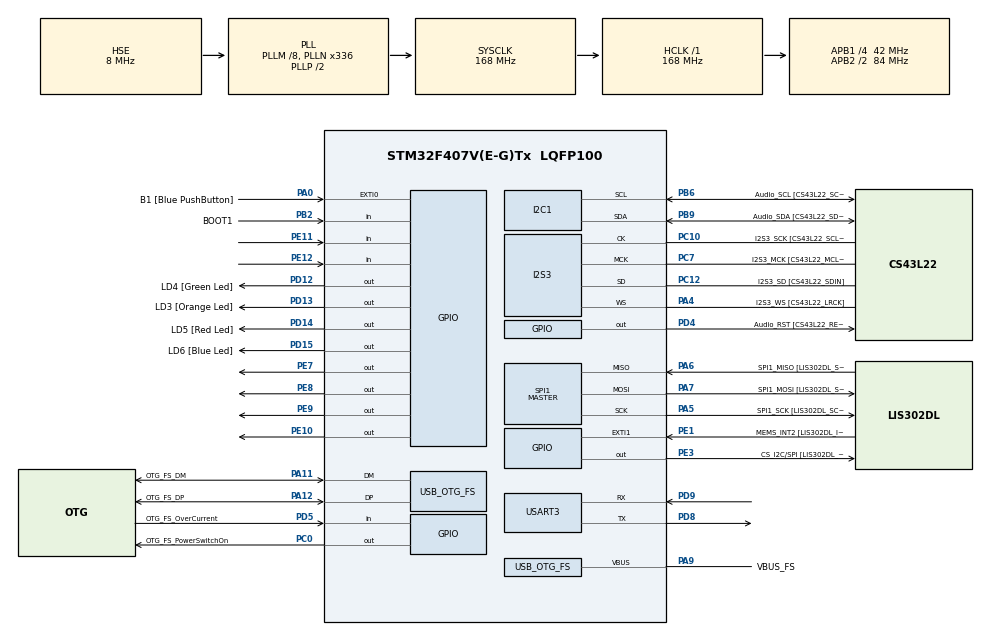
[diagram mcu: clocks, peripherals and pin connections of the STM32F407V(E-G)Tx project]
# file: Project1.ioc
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I2S3.AudioFreq-Half_Duplex_Master=I2S_AUDIOFREQ_96K
I2S3.ErrorAudioFreq=-2.34 %
I2S3.ErrorAudioFreq-Half_Duplex_Master=0.8 %
I2S3.FullDuplexMode=I2S_FULLDUPLEXMODE_DISABLE
I2S3.Instance=SPI$Index
I2S3.RealAudioFreq=93.75 KHz
I2S3.RealAudioFreq-Half_Duplex_Master=96.774 KHz
I2S3.VirtualMode=I2S_MODE_MASTER
Mcu.Family=STM32F4
Mcu.Name=STM32F407V(E-G)Tx
Mcu.Package=LQFP100
NVIC.OTG_FS_IRQn=true\:0\:0\:false\:false\:true\:true\:true\:true
NVIC.PriorityGroup=NVIC_PRIORITYGROUP_2
NVIC.TIM2_IRQn=true\:1\:0\:true\:false\:true\:true\:true\:true
PA0-WKUP.GPIO_Label=B1 [Blue PushButton]
PA0-WKUP.GPIO_ModeDefaultEXTI=GPIO_MODE_EVT_RISING
PA0-WKUP.GPIO_PuPd=GPIO_NOPULL
PA0-WKUP.Signal=GPXTI0
PA10.GPIO_Label=OTG_FS_ID
PA10.GPIO_Mode=GPIO_MODE_AF_PP
PA10.GPIO_PuPd=GPIO_NOPULL
PA10.GPIO_Speed=GPIO_SPEED_FREQ_LOW
PA10.Signal=USB_OTG_FS_ID
PA11.GPIO_Label=OTG_FS_DM
PA11.GPIO_Mode=GPIO_MODE_AF_PP
PA11.GPIO_PuPd=GPIO_NOPULL
PA11.GPIO_Speed=GPIO_SPEED_FREQ_LOW
PA11.Mode=Host_Only
PA11.Signal=USB_OTG_FS_DM
PA12.GPIO_Label=OTG_FS_DP
PA12.GPIO_Mode=GPIO_MODE_AF_PP
PA12.GPIO_PuPd=GPIO_NOPULL
PA12.GPIO_Speed=GPIO_SPEED_FREQ_LOW
PA12.Mode=Host_Only
PA12.Signal=USB_OTG_FS_DP
PA13.GPIO_Label=SWDIO
PA13.Mode=Serial_Wire
PA13.Signal=SYS_JTMS-SWDIO
PA14.GPIO_Label=SWCLK
PA14.Mode=Serial_Wire
PA14.Signal=SYS_JTCK-SWCLK
PA4.GPIO_Label=I2S3_WS [CS43L22_LRCK]
PA4.GPIO_Mode=GPIO_MODE_AF_PP
PA4.GPIO_PuPd=GPIO_NOPULL
PA4.GPIO_Speed=GPIO_SPEED_FREQ_LOW
PA4.Mode=Half_Duplex_Master
PA4.Signal=I2S3_WS
PA5.GPIO_Label=SPI1_SCK [LIS302DL_SCL/SPC]
PA5.GPIO_Mode=GPIO_MODE_AF_PP
PA5.GPIO_PuPd=GPIO_NOPULL
PA5.GPIO_Speed=GPIO_SPEED_FREQ_LOW
PA5.Mode=Full_Duplex_Master
PA5.Signal=SPI1_SCK
PA6.GPIO_Label=SPI1_MISO [LIS302DL_SDO]
PA6.GPIO_Mode=GPIO_MODE_AF_PP
PA6.GPIO_PuPd=GPIO_NOPULL
PA6.GPIO_Speed=GPIO_SPEED_FREQ_LOW
PA6.Mode=Full_Duplex_Master
PA6.Signal=SPI1_MISO
PA7.GPIO_Label=SPI1_MOSI [LIS302DL_SDA/SDI/SDO]
PA7.GPIO_Mode=GPIO_MODE_AF_PP
PA7.GPIO_PuPd=GPIO_NOPULL
PA7.GPIO_Speed=GPIO_SPEED_FREQ_LOW
PA7.Mode=Full_Duplex_Master
PA7.Signal=SPI1_MOSI
PA9.GPIO_Label=VBUS_FS
PA9.GPIO_Mode=GPIO_MODE_INPUT
PA9.GPIO_PuPd=GPIO_NOPULL
PA9.Mode=Activate_VBUS
PA9.Signal=USB_OTG_FS_VBUS
PB10.GPIO_Label=CLK_IN [MP45DT02_CLK]
PB10.GPIO_Mode=GPIO_MODE_AF_PP
PB10.GPIO_PuPd=GPIO_NOPULL
PB10.GPIO_Speed=GPIO_SPEED_FREQ_LOW
PB10.Signal=I2S2_CK
PB2.GPIO_Label=BOOT1
PB2.GPIO_Mode=GPIO_MODE_INPUT
PB2.GPIO_PuPd=GPIO_NOPULL
PB2.Signal=GPIO_Input
PB3.GPIO_Label=SWO
PB3.Signal=SYS_JTDO-SWO
PB6.GPIO_Label=Audio_SCL [CS43L22_SCL]
PB6.GPIO_Mode=GPIO_MODE_AF_OD
PB6.GPIO_Pu=GPIO_PULLUP
PB6.GPIO_PuPd=GPIO_NOPULL
PB6.GPIO_Speed=GPIO_SPEED_FREQ_LOW
PB6.Mode=I2C
PB6.Signal=I2C1_SCL
PB9.GPIO_Label=Audio_SDA [CS43L22_SDA]
PB9.GPIO_Mode=GPIO_MODE_AF_OD
PB9.GPIO_Pu=GPIO_PULLUP
PB9.GPIO_PuPd=GPIO_NOPULL
PB9.GPIO_Speed=GPIO_SPEED_FREQ_LOW
PB9.Mode=I2C
PB9.Signal=I2C1_SDA
PC0.GPIO_Label=OTG_FS_PowerSwitchOn
PC0.GPIO_PuPd=GPIO_NOPULL
PC0.GPIO_Speed=GPIO_SPEED_FREQ_LOW
PC0.PinState=GPIO_PIN_SET
PC0.Signal=GPIO_Output
PC10.GPIO_Label=I2S3_SCK [CS43L22_SCLK]
PC10.GPIO_Mode=GPIO_MODE_AF_PP
PC10.GPIO_PuPd=GPIO_NOPULL
PC10.GPIO_Speed=GPIO_SPEED_FREQ_LOW
PC10.Mode=Half_Duplex_Master
PC10.Signal=I2S3_CK
PC12.GPIO_Label=I2S3_SD [CS43L22_SDIN]
PC12.GPIO_Mode=GPIO_MODE_AF_PP
PC12.GPIO_PuPd=GPIO_NOPULL
PC12.GPIO_Speed=GPIO_SPEED_FREQ_LOW
PC12.Mode=Half_Duplex_Master
PC12.Signal=I2S3_SD
PC14-OSC32_IN.GPIO_Label=PC14-OSC32_IN
PC14-OSC32_IN.Mode=LSE-External-Oscillator
PC14-OSC32_IN.Signal=RCC_OSC32_IN
PC15-OSC32_OUT.GPIO_Label=PC15-OSC32_OUT
PC15-OSC32_OUT.Mode=LSE-External-Oscillator
PC15-OSC32_OUT.Signal=RCC_OSC32_OUT
PC3.GPIO_Label=PDM_OUT [MP45DT02_DOUT]
PC3.GPIO_Mode=GPIO_MODE_AF_PP
PC3.GPIO_PuPd=GPIO_NOPULL
PC3.GPIO_Speed=GPIO_SPEED_FREQ_LOW
PC3.Signal=I2S2_SD
PC7.GPIO_Label=I2S3_MCK [CS43L22_MCLK]
PC7.GPIO_Mode=GPIO_MODE_AF_PP
PC7.GPIO_PuPd=GPIO_NOPULL
PC7.GPIO_Speed=GPIO_SPEED_FREQ_LOW
PC7.Mode=Master_Clock_Activated
PC7.Signal=I2S3_MCK
PD12.GPIO_Label=LD4 [Green Led]
PD12.GPIO_PuPd=GPIO_NOPULL
PD12.GPIO_Speed=GPIO_SPEED_FREQ_LOW
PD12.Signal=GPIO_Output
PD13.GPIO_Label=LD3 [Orange Led]
PD13.GPIO_PuPd=GPIO_NOPULL
PD13.GPIO_Speed=GPIO_SPEED_FREQ_LOW
PD13.Signal=GPIO_Output
PD14.GPIO_Label=LD5 [Red Led]
PD14.GPIO_PuPd=GPIO_NOPULL
PD14.GPIO_Speed=GPIO_SPEED_FREQ_LOW
PD14.Signal=GPIO_Output
PD15.GPIO_Label=LD6 [Blue Led]
PD15.GPIO_PuPd=GPIO_NOPULL
PD15.GPIO_Speed=GPIO_SPEED_FREQ_LOW
PD15.Signal=GPIO_Output
PD4.GPIO_Label=Audio_RST [CS43L22_RESET]
PD4.GPIO_PuPd=GPIO_NOPULL
PD4.GPIO_Speed=GPIO_SPEED_FREQ_LOW
PD4.Signal=GPIO_Output
PD5.GPIO_Label=OTG_FS_OverCurrent
PD5.GPIO_Mode=GPIO_MODE_INPUT
PD5.GPIO_PuPd=GPIO_NOPULL
PD5.Signal=GPIO_Input
PD8.Mode=Asynchronous
PD8.Signal=USART3_TX
PD9.Mode=Asynchronous
PD9.Signal=USART3_RX
PE1.GPIO_Label=MEMS_INT2 [LIS302DL_INT2]
PE1.GPIO_ModeDefaultEXTI=GPIO_MODE_EVT_RISING
PE1.GPIO_PuPd=GPIO_NOPULL
PE1.Signal=GPXTI1
PE10.Signal=GPIO_Output
PE11.Signal=GPIO_Input
PE12.Signal=GPIO_Input
PE3.GPIO_Label=CS_I2C/SPI [LIS302DL_CS_I2C/SPI]
PE3.GPIO_PuPd=GPIO_NOPULL
PE3.GPIO_Speed=GPIO_SPEED_FREQ_LOW
PE3.Signal=GPIO_Output
PE7.Signal=GPIO_Output
PE8.Signal=GPIO_Output
PE9.Signal=GPIO_Output
PH0-OSC_IN.GPIO_Label=PH0-OSC_IN
PH0-OSC_IN.Mode=HSE-External-Oscillator
PH0-OSC_IN.Signal=RCC_OSC_IN
PH1-OSC_OUT.GPIO_Label=PH1-OSC_OUT
PH1-OSC_OUT.Mode=HSE-External-Oscillator
PH1-OSC_OUT.Signal=RCC_OSC_OUT
ProjectManager.HeapSize=0x200
ProjectManager.StackSize=0x400
ProjectManager.TargetToolchain=STM32CubeIDE
RCC.48MHZClocksFreq_Value=48000000
RCC.AHBFreq_Value=168000000
RCC.APB1CLKDivider=RCC_HCLK_DIV4
RCC.APB1Freq_Value=42000000
RCC.APB1TimFreq_Value=84000000
RCC.APB2CLKDivider=RCC_HCLK_DIV2
RCC.APB2Freq_Value=84000000
RCC.APB2TimFreq_Value=168000000
RCC.CortexFreq_Value=168000000
RCC.HCLKFreq_Value=168000000
RCC.HSE_VALUE=8000000
RCC.HSI_VALUE=16000000
RCC.PLLM=8
RCC.PLLN=336
RCC.PLLQ=7
RCC.SYSCLKFreq_VALUE=168000000
RCC.SYSCLKSource=RCC_SYSCLKSOURCE_PLLCLK
RCC.VCOOutputFreq_Value=336000000
SPI1.BaudRatePrescaler-Full_Duplex_Master=SPI_BAUDRATEPRESCALER_2
SPI1.CalculateBaudRate-Full_Duplex_Master=42.0 MBits/s
SPI1.Direction=SPI_DIRECTION_2LINES
SPI1.Mode=SPI_MODE_MASTER
SPI1.Mode-Full_Duplex_Master=SPI_MODE_MASTER
SPI1.VirtualType=VM_MASTER
TIM2.AutoReloadPreload=TIM_AUTORELOAD_PRELOAD_DISABLE
TIM2.Period=10-1
TIM2.Prescaler=168-1
USART3.VirtualMode=VM_ASYNC
USB_HOST.BSP.number=1
USB_HOST.USBH_HandleTypeDef-CDC_FS=hUsbHostFS
USB_HOST.VirtualModeFS=Cdc
USB_HOST0.BSP.STBoard=false
USB_HOST0.BSP.api=Unknown
USB_HOST0.BSP.instance=PC0
USB_HOST0.BSP.ip=GPIO
USB_HOST0.BSP.mode=Output
USB_HOST0.BSP.name=Drive_VBUS_FS
USB_HOST0.BSP.solution=PC0
USB_OTG_FS.VirtualMode=Host_Only
USB_OTG_FS.phy_itface=HCD_PHY_EMBEDDED
VP_TIM2_VS_ClockSourceINT.Mode=Internal
VP_USB_HOST_VS_USB_HOST_CDC_FS.Mode=CDC_FS
board=STM32F407G-DISC1

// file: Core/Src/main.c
/* USER CODE BEGIN Header */
/**
 ******************************************************************************
 * @file           : main.c
 * @brief          : Main program body
 ******************************************************************************
 * @attention
 *
 * Copyright (c) 2023 STMicroelectronics.
 * All rights reserved.
 *
 * This software is licensed under terms that can be found in the LICENSE file
 * in the root directory of this software component.
 * If no LICENSE file comes with this software, it is provided AS-IS.
 *
 ******************************************************************************
 */
/* USER CODE END Header */
#include "main.h"
#include "usb_host.h"

I2C_HandleTypeDef hi2c1;

I2S_HandleTypeDef hi2s3;

SPI_HandleTypeDef hspi1;

TIM_HandleTypeDef htim2;

UART_HandleTypeDef huart3;

void SystemClock_Config(void);
static void MX_GPIO_Init(void);
static void MX_I2C1_Init(void);
static void MX_I2S3_Init(void);
static void MX_SPI1_Init(void);
static void MX_USART3_UART_Init(void);
static void MX_TIM2_Init(void);
void MX_USB_HOST_Process(void);

/* USER CODE BEGIN 0 */
int motorSpeed = 65; //70 - 500
uint32_t lastTime = 0;
int stepTo = 0;
int nowStep = 0;
uint32_t count;
/* USER CODE END 0 */

int main(void)
{

  /* MCU Configuration--------------------------------------------------------*/

  /* Reset of all peripherals, Initializes the Flash interface and the Systick. */
  HAL_Init();

  /* Configure the system clock */
  SystemClock_Config();

  /* Initialize all configured peripherals */
  MX_GPIO_Init();
  MX_I2C1_Init();
  MX_I2S3_Init();
  MX_SPI1_Init();
  MX_USB_HOST_Init();
  MX_USART3_UART_Init();
  MX_TIM2_Init();
  /* USER CODE BEGIN 2 */
	int sw1, sw2;
	HAL_TIM_Base_Start_IT(&htim2);
  /* USER CODE END 2 */

  /* Infinite loop */
  /* USER CODE BEGIN WHILE */
	while (1) {
		sw1 = HAL_GPIO_ReadPin(GPIOE, GPIO_PIN_11);
		sw2 = HAL_GPIO_ReadPin(GPIOE, GPIO_PIN_12);
		if (sw1 == 0) {
			stepTo = 5;
			HAL_GPIO_WritePin(GPIOD, GPIO_PIN_12, 1);
		} else if (sw2 == 0) {
			stepTo = -5;
			HAL_GPIO_WritePin(GPIOD, GPIO_PIN_13, 1);
		} else {
			HAL_GPIO_WritePin(GPIOD, GPIO_PIN_12, 0);
			HAL_GPIO_WritePin(GPIOD, GPIO_PIN_13, 0);
		}
		motor();
    /* USER CODE END WHILE */
    MX_USB_HOST_Process();

	}
}

void SystemClock_Config(void)
{
  RCC_OscInitTypeDef RCC_OscInitStruct = {0};
  RCC_ClkInitTypeDef RCC_ClkInitStruct = {0};

  /** Configure the main internal regulator output voltage
  */
  __HAL_RCC_PWR_CLK_ENABLE();
  __HAL_PWR_VOLTAGESCALING_CONFIG(PWR_REGULATOR_VOLTAGE_SCALE1);

  /** Initializes the RCC Oscillators according to the specified parameters
  * in the RCC_OscInitTypeDef structure.
  */
  RCC_OscInitStruct.OscillatorType = RCC_OSCILLATORTYPE_HSE;
  RCC_OscInitStruct.HSEState = RCC_HSE_ON;
  RCC_OscInitStruct.PLL.PLLState = RCC_PLL_ON;
  RCC_OscInitStruct.PLL.PLLSource = RCC_PLLSOURCE_HSE;
  RCC_OscInitStruct.PLL.PLLM = 8;
  RCC_OscInitStruct.PLL.PLLN = 336;
  RCC_OscInitStruct.PLL.PLLP = RCC_PLLP_DIV2;
  RCC_OscInitStruct.PLL.PLLQ = 7;
  if (HAL_RCC_OscConfig(&RCC_OscInitStruct) != HAL_OK)
  {
    Error_Handler();
  }

  /** Initializes the CPU, AHB and APB buses clocks
  */
  RCC_ClkInitStruct.ClockType = RCC_CLOCKTYPE_HCLK|RCC_CLOCKTYPE_SYSCLK
                              |RCC_CLOCKTYPE_PCLK1|RCC_CLOCKTYPE_PCLK2;
  RCC_ClkInitStruct.SYSCLKSource = RCC_SYSCLKSOURCE_PLLCLK;
  RCC_ClkInitStruct.AHBCLKDivider = RCC_SYSCLK_DIV1;
  RCC_ClkInitStruct.APB1CLKDivider = RCC_HCLK_DIV4;
  RCC_ClkInitStruct.APB2CLKDivider = RCC_HCLK_DIV2;

  if (HAL_RCC_ClockConfig(&RCC_ClkInitStruct, FLASH_LATENCY_5) != HAL_OK)
  {
    Error_Handler();
  }
}

static void MX_I2C1_Init(void)
{

  hi2c1.Instance = I2C1;
  hi2c1.Init.ClockSpeed = 100000;
  hi2c1.Init.DutyCycle = I2C_DUTYCYCLE_2;
  hi2c1.Init.OwnAddress1 = 0;
  hi2c1.Init.AddressingMode = I2C_ADDRESSINGMODE_7BIT;
  hi2c1.Init.DualAddressMode = I2C_DUALADDRESS_DISABLE;
  hi2c1.Init.OwnAddress2 = 0;
  hi2c1.Init.GeneralCallMode = I2C_GENERALCALL_DISABLE;
  hi2c1.Init.NoStretchMode = I2C_NOSTRETCH_DISABLE;
  if (HAL_I2C_Init(&hi2c1) != HAL_OK)
  {
    Error_Handler();
  }

}

static void MX_I2S3_Init(void)
{

  hi2s3.Instance = SPI3;
  hi2s3.Init.Mode = I2S_MODE_MASTER_TX;
  hi2s3.Init.Standard = I2S_STANDARD_PHILIPS;
  hi2s3.Init.DataFormat = I2S_DATAFORMAT_16B;
  hi2s3.Init.MCLKOutput = I2S_MCLKOUTPUT_ENABLE;
  hi2s3.Init.AudioFreq = I2S_AUDIOFREQ_96K;
  hi2s3.Init.CPOL = I2S_CPOL_LOW;
  hi2s3.Init.ClockSource = I2S_CLOCK_PLL;
  hi2s3.Init.FullDuplexMode = I2S_FULLDUPLEXMODE_DISABLE;
  if (HAL_I2S_Init(&hi2s3) != HAL_OK)
  {
    Error_Handler();
  }

}

static void MX_SPI1_Init(void)
{

  /* SPI1 parameter configuration*/
  hspi1.Instance = SPI1;
  hspi1.Init.Mode = SPI_MODE_MASTER;
  hspi1.Init.Direction = SPI_DIRECTION_2LINES;
  hspi1.Init.DataSize = SPI_DATASIZE_8BIT;
  hspi1.Init.CLKPolarity = SPI_POLARITY_LOW;
  hspi1.Init.CLKPhase = SPI_PHASE_1EDGE;
  hspi1.Init.NSS = SPI_NSS_SOFT;
  hspi1.Init.BaudRatePrescaler = SPI_BAUDRATEPRESCALER_2;
  hspi1.Init.FirstBit = SPI_FIRSTBIT_MSB;
  hspi1.Init.TIMode = SPI_TIMODE_DISABLE;
  hspi1.Init.CRCCalculation = SPI_CRCCALCULATION_DISABLE;
  hspi1.Init.CRCPolynomial = 10;
  if (HAL_SPI_Init(&hspi1) != HAL_OK)
  {
    Error_Handler();
  }

}

static void MX_TIM2_Init(void)
{

  TIM_ClockConfigTypeDef sClockSourceConfig = {0};
  TIM_MasterConfigTypeDef sMasterConfig = {0};

  htim2.Instance = TIM2;
  htim2.Init.Prescaler = 168-1;
  htim2.Init.CounterMode = TIM_COUNTERMODE_UP;
  htim2.Init.Period = 10-1;
  htim2.Init.ClockDivision = TIM_CLOCKDIVISION_DIV1;
  htim2.Init.AutoReloadPreload = TIM_AUTORELOAD_PRELOAD_DISABLE;
  if (HAL_TIM_Base_Init(&htim2) != HAL_OK)
  {
    Error_Handler();
  }
  sClockSourceConfig.ClockSource = TIM_CLOCKSOURCE_INTERNAL;
  if (HAL_TIM_ConfigClockSource(&htim2, &sClockSourceConfig) != HAL_OK)
  {
    Error_Handler();
  }
  sMasterConfig.MasterOutputTrigger = TIM_TRGO_RESET;
  sMasterConfig.MasterSlaveMode = TIM_MASTERSLAVEMODE_DISABLE;
  if (HAL_TIMEx_MasterConfigSynchronization(&htim2, &sMasterConfig) != HAL_OK)
  {
    Error_Handler();
  }

}

static void MX_USART3_UART_Init(void)
{

  huart3.Instance = USART3;
  huart3.Init.BaudRate = 115200;
  huart3.Init.WordLength = UART_WORDLENGTH_8B;
  huart3.Init.StopBits = UART_STOPBITS_1;
  huart3.Init.Parity = UART_PARITY_NONE;
  huart3.Init.Mode = UART_MODE_TX_RX;
  huart3.Init.HwFlowCtl = UART_HWCONTROL_NONE;
  huart3.Init.OverSampling = UART_OVERSAMPLING_16;
  if (HAL_UART_Init(&huart3) != HAL_OK)
  {
    Error_Handler();
  }

}

static void MX_GPIO_Init(void)
{
  GPIO_InitTypeDef GPIO_InitStruct = {0};

  /* GPIO Ports Clock Enable */
  __HAL_RCC_GPIOE_CLK_ENABLE();
  __HAL_RCC_GPIOC_CLK_ENABLE();
  __HAL_RCC_GPIOH_CLK_ENABLE();
  __HAL_RCC_GPIOA_CLK_ENABLE();
  __HAL_RCC_GPIOB_CLK_ENABLE();
  __HAL_RCC_GPIOD_CLK_ENABLE();

  /*Configure GPIO pin Output Level */
  HAL_GPIO_WritePin(GPIOE, CS_I2C_SPI_Pin|GPIO_PIN_7|GPIO_PIN_8|GPIO_PIN_9
                          |GPIO_PIN_10, GPIO_PIN_RESET);

  /*Configure GPIO pin Output Level */
  HAL_GPIO_WritePin(OTG_FS_PowerSwitchOn_GPIO_Port, OTG_FS_PowerSwitchOn_Pin, GPIO_PIN_SET);

  /*Configure GPIO pin Output Level */
  HAL_GPIO_WritePin(GPIOD, LD4_Pin|LD3_Pin|LD5_Pin|LD6_Pin
                          |Audio_RST_Pin, GPIO_PIN_RESET);

  /*Configure GPIO pins : CS_I2C_SPI_Pin PE7 PE8 PE9
                           PE10 */
  GPIO_InitStruct.Pin = CS_I2C_SPI_Pin|GPIO_PIN_7|GPIO_PIN_8|GPIO_PIN_9
                          |GPIO_PIN_10;
  GPIO_InitStruct.Mode = GPIO_MODE_OUTPUT_PP;
  GPIO_InitStruct.Pull = GPIO_NOPULL;
  GPIO_InitStruct.Speed = GPIO_SPEED_FREQ_LOW;
  HAL_GPIO_Init(GPIOE, &GPIO_InitStruct);

  /*Configure GPIO pin : OTG_FS_PowerSwitchOn_Pin */
  GPIO_InitStruct.Pin = OTG_FS_PowerSwitchOn_Pin;
  GPIO_InitStruct.Mode = GPIO_MODE_OUTPUT_PP;
  GPIO_InitStruct.Pull = GPIO_NOPULL;
  GPIO_InitStruct.Speed = GPIO_SPEED_FREQ_LOW;
  HAL_GPIO_Init(OTG_FS_PowerSwitchOn_GPIO_Port, &GPIO_InitStruct);

  /*Configure GPIO pin : PDM_OUT_Pin */
  GPIO_InitStruct.Pin = PDM_OUT_Pin;
  GPIO_InitStruct.Mode = GPIO_MODE_AF_PP;
  GPIO_InitStruct.Pull = GPIO_NOPULL;
  GPIO_InitStruct.Speed = GPIO_SPEED_FREQ_LOW;
  GPIO_InitStruct.Alternate = GPIO_AF5_SPI2;
  HAL_GPIO_Init(PDM_OUT_GPIO_Port, &GPIO_InitStruct);

  /*Configure GPIO pin : B1_Pin */
  GPIO_InitStruct.Pin = B1_Pin;
  GPIO_InitStruct.Mode = GPIO_MODE_EVT_RISING;
  GPIO_InitStruct.Pull = GPIO_NOPULL;
  HAL_GPIO_Init(B1_GPIO_Port, &GPIO_InitStruct);

  /*Configure GPIO pin : BOOT1_Pin */
  GPIO_InitStruct.Pin = BOOT1_Pin;
  GPIO_InitStruct.Mode = GPIO_MODE_INPUT;
  GPIO_InitStruct.Pull = GPIO_NOPULL;
  HAL_GPIO_Init(BOOT1_GPIO_Port, &GPIO_InitStruct);

  /*Configure GPIO pins : PE11 PE12 */
  GPIO_InitStruct.Pin = GPIO_PIN_11|GPIO_PIN_12;
  GPIO_InitStruct.Mode = GPIO_MODE_INPUT;
  GPIO_InitStruct.Pull = GPIO_NOPULL;
  HAL_GPIO_Init(GPIOE, &GPIO_InitStruct);

  /*Configure GPIO pin : CLK_IN_Pin */
  GPIO_InitStruct.Pin = CLK_IN_Pin;
  GPIO_InitStruct.Mode = GPIO_MODE_AF_PP;
  GPIO_InitStruct.Pull = GPIO_NOPULL;
  GPIO_InitStruct.Speed = GPIO_SPEED_FREQ_LOW;
  GPIO_InitStruct.Alternate = GPIO_AF5_SPI2;
  HAL_GPIO_Init(CLK_IN_GPIO_Port, &GPIO_InitStruct);

  /*Configure GPIO pins : LD4_Pin LD3_Pin LD5_Pin LD6_Pin
                           Audio_RST_Pin */
  GPIO_InitStruct.Pin = LD4_Pin|LD3_Pin|LD5_Pin|LD6_Pin
                          |Audio_RST_Pin;
  GPIO_InitStruct.Mode = GPIO_MODE_OUTPUT_PP;
  GPIO_InitStruct.Pull = GPIO_NOPULL;
  GPIO_InitStruct.Speed = GPIO_SPEED_FREQ_LOW;
  HAL_GPIO_Init(GPIOD, &GPIO_InitStruct);

  /*Configure GPIO pin : OTG_FS_OverCurrent_Pin */
  GPIO_InitStruct.Pin = OTG_FS_OverCurrent_Pin;
  GPIO_InitStruct.Mode = GPIO_MODE_INPUT;
  GPIO_InitStruct.Pull = GPIO_NOPULL;
  HAL_GPIO_Init(OTG_FS_OverCurrent_GPIO_Port, &GPIO_InitStruct);

  /*Configure GPIO pin : MEMS_INT2_Pin */
  GPIO_InitStruct.Pin = MEMS_INT2_Pin;
  GPIO_InitStruct.Mode = GPIO_MODE_EVT_RISING;
  GPIO_InitStruct.Pull = GPIO_NOPULL;
  HAL_GPIO_Init(MEMS_INT2_GPIO_Port, &GPIO_InitStruct);

}

/* USER CODE BEGIN 4 */
void motor() {
	if (count - lastTime > motorSpeed) {
		if (stepTo != 0) {
			switch (nowStep) {
			case 0:
				//GPIOE->BSRR = 0x00000280;
				HAL_GPIO_WritePin(GPIOE, GPIO_PIN_7, 1);
				HAL_GPIO_WritePin(GPIOE, GPIO_PIN_8, 0);
				HAL_GPIO_WritePin(GPIOE, GPIO_PIN_9, 1);
				HAL_GPIO_WritePin(GPIOE, GPIO_PIN_10, 0);
//          digitalWrite(motorPin1, HIGH);
//          digitalWrite(motorPin2, LOW);
//          digitalWrite(motorPin3, HIGH);
//          digitalWrite(motorPin4, LOW);
				//delay(motorSpeed);
				break;
			case 1:
				//GPIOE->BSRR = 0x00000300;
				HAL_GPIO_WritePin(GPIOE, GPIO_PIN_7, 0);
				HAL_GPIO_WritePin(GPIOE, GPIO_PIN_8, 1);
				HAL_GPIO_WritePin(GPIOE, GPIO_PIN_9, 1);
				HAL_GPIO_WritePin(GPIOE, GPIO_PIN_10, 0);
//          digitalWrite(motorPin1, LOW);
//          digitalWrite(motorPin2, HIGH);
//          digitalWrite(motorPin3, HIGH);
//          digitalWrite(motorPin4, LOW);
				//delay (motorSpeed);
				break;
			case 2:
				//GPIOE->BSRR = 0x00000500;
				HAL_GPIO_WritePin(GPIOE, GPIO_PIN_7, 0);
				HAL_GPIO_WritePin(GPIOE, GPIO_PIN_8, 1);
				HAL_GPIO_WritePin(GPIOE, GPIO_PIN_9, 0);
				HAL_GPIO_WritePin(GPIOE, GPIO_PIN_10, 1);
//          digitalWrite(motorPin1, LOW);
//          digitalWrite(motorPin2, HIGH);
//          digitalWrite(motorPin3, LOW);
//          digitalWrite(motorPin4, HIGH);
				//delay(motorSpeed);
				break;
			case 3:
				//GPIOE->BSRR = 0x00000480;
				HAL_GPIO_WritePin(GPIOE, GPIO_PIN_7, 1);
				HAL_GPIO_WritePin(GPIOE, GPIO_PIN_8, 0);
				HAL_GPIO_WritePin(GPIOE, GPIO_PIN_9, 0);
				HAL_GPIO_WritePin(GPIOE, GPIO_PIN_10, 1);
//          digitalWrite(motorPin1, HIGH);
//          digitalWrite(motorPin2, LOW);
//          digitalWrite(motorPin3, LOW);
//          digitalWrite(motorPin4, HIGH);
				//delay(motorSpeed);
				break;
			}
			if (stepTo > 0) {
				nowStep++;
				stepTo--;
				if (nowStep > 3) {
					nowStep = 0;
				}
			} else if (stepTo < 0) {
				nowStep--;
				stepTo++;
				if (nowStep < 0) {
					nowStep = 3;
				}
			}
		} else {
			//GPIOE->BSRR = 0x07800000;
			HAL_GPIO_WritePin(GPIOE, GPIO_PIN_7, 0);
			HAL_GPIO_WritePin(GPIOE, GPIO_PIN_8, 0);
			HAL_GPIO_WritePin(GPIOE, GPIO_PIN_9, 0);
			HAL_GPIO_WritePin(GPIOE, GPIO_PIN_10, 0);
//      digitalWrite(motorPin1, LOW);
//      digitalWrite(motorPin2, LOW);
//      digitalWrite(motorPin3, LOW);
//      digitalWrite(motorPin4, LOW);
		}
		lastTime = count;
	}
}
/* USER CODE END 4 */

void Error_Handler(void)
{
	__disable_irq();
	while (1) {
	}
}
